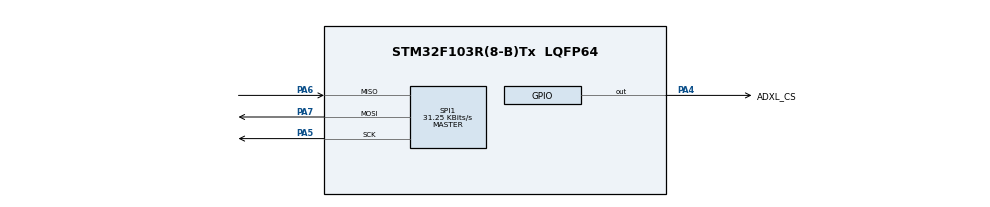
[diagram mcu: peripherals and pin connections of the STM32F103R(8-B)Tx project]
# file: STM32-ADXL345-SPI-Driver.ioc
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Mcu.Family=STM32F1
Mcu.Name=STM32F103R(8-B)Tx
Mcu.Package=LQFP64
NVIC.PriorityGroup=NVIC_PRIORITYGROUP_4
PA13.Mode=Serial_Wire
PA13.Signal=SYS_JTMS-SWDIO
PA14.Mode=Serial_Wire
PA14.Signal=SYS_JTCK-SWCLK
PA4.GPIO_Label=ADXL_CS
PA4.Signal=GPIO_Output
PA5.Mode=Full_Duplex_Master
PA5.Signal=SPI1_SCK
PA6.Mode=Full_Duplex_Master
PA6.Signal=SPI1_MISO
PA7.Mode=Full_Duplex_Master
PA7.Signal=SPI1_MOSI
PD0-OSC_IN.Mode=HSE-External-Oscillator
PD0-OSC_IN.Signal=RCC_OSC_IN
PD1-OSC_OUT.Mode=HSE-External-Oscillator
PD1-OSC_OUT.Signal=RCC_OSC_OUT
ProjectManager.HeapSize=0x200
ProjectManager.StackSize=0x400
ProjectManager.TargetToolchain=STM32CubeIDE
RCC.APB1Freq_Value=8000000
RCC.APB2Freq_Value=8000000
SPI1.BaudRatePrescaler=SPI_BAUDRATEPRESCALER_256
SPI1.CLKPhase=SPI_PHASE_2EDGE
SPI1.CLKPolarity=SPI_POLARITY_HIGH
SPI1.CalculateBaudRate=31.25 KBits/s
SPI1.Direction=SPI_DIRECTION_2LINES
SPI1.Mode=SPI_MODE_MASTER
SPI1.VirtualType=VM_MASTER
board=custom

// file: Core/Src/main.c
/* USER CODE BEGIN Header */
/**
  ******************************************************************************
  * @file           : main.c
  * @brief          : Main program body
  ******************************************************************************
  * @attention
  *
  * Copyright (c) 2026 STMicroelectronics.
  * All rights reserved.
  *
  * This software is licensed under terms that can be found in the LICENSE file
  * in the root directory of this software component.
  * If no LICENSE file comes with this software, it is provided AS-IS.
  *
  ******************************************************************************
  */
/* USER CODE END Header */
#include "main.h"

SPI_HandleTypeDef hspi1;

/* USER CODE BEGIN PV */

volatile int16_t x_val, y_val, z_val;
uint8_t dev_id = 0;

/* USER CODE END PV */

void SystemClock_Config(void);
static void MX_GPIO_Init(void);
static void MX_SPI1_Init(void);

int main(void)
{

  /* MCU Configuration--------------------------------------------------------*/

  /* Reset of all peripherals, Initializes the Flash interface and the Systick. */
  HAL_Init();

  /* Configure the system clock */
  SystemClock_Config();

  /* Initialize all configured peripherals */
  MX_GPIO_Init();
  MX_SPI1_Init();
  /* USER CODE BEGIN 2 */

  HAL_GPIO_WritePin(ADXL_CS_GPIO_Port, ADXL_CS_Pin, GPIO_PIN_SET);
      HAL_Delay(100);

      uint8_t txBuf[2] = {0x00 | 0x80, 0x00}; // 0x00 Adresi
      uint8_t rxBuf[2] = {0, 0};

      HAL_GPIO_WritePin(ADXL_CS_GPIO_Port, ADXL_CS_Pin, GPIO_PIN_RESET); // CS Aktif
      HAL_SPI_TransmitReceive(&hspi1, txBuf, rxBuf, 2, 100);             // Gönder-Al
      HAL_GPIO_WritePin(ADXL_CS_GPIO_Port, ADXL_CS_Pin, GPIO_PIN_SET);   // CS Pasif

      dev_id = rxBuf[1];

      uint8_t wake_cmd[2] = {0x2D, 0x08}; // Power Control -> Measure Mode

      HAL_GPIO_WritePin(ADXL_CS_GPIO_Port, ADXL_CS_Pin, GPIO_PIN_RESET);
      HAL_SPI_Transmit(&hspi1, wake_cmd, 2, 100);
      HAL_GPIO_WritePin(ADXL_CS_GPIO_Port, ADXL_CS_Pin, GPIO_PIN_SET);

  /* USER CODE END 2 */

  /* Infinite loop */
  while (1)
  {

    /* USER CODE BEGIN 3 */

	  uint8_t read_cmd = 0xF2; // 0x32 (DATAX0) | Multi-Byte (okuma)
	  	      uint8_t data_raw[6];

	  	      HAL_GPIO_WritePin(ADXL_CS_GPIO_Port, ADXL_CS_Pin, GPIO_PIN_RESET);
	  	      HAL_SPI_Transmit(&hspi1, &read_cmd, 1, 100);
	  	      HAL_SPI_Receive(&hspi1, data_raw, 6, 100);
	  	      HAL_GPIO_WritePin(ADXL_CS_GPIO_Port, ADXL_CS_Pin, GPIO_PIN_SET);

	  	      x_val = ((int16_t)data_raw[1] << 8) | data_raw[0];
	  	      y_val = ((int16_t)data_raw[3] << 8) | data_raw[2];
	  	      z_val = ((int16_t)data_raw[5] << 8) | data_raw[4];

	  	      HAL_Delay(50);
  }
  /* USER CODE END 3 */
}

void SystemClock_Config(void)
{
  RCC_OscInitTypeDef RCC_OscInitStruct = {0};
  RCC_ClkInitTypeDef RCC_ClkInitStruct = {0};

  /** Initializes the RCC Oscillators according to the specified parameters
  * in the RCC_OscInitTypeDef structure.
  */
  RCC_OscInitStruct.OscillatorType = RCC_OSCILLATORTYPE_HSI;
  RCC_OscInitStruct.HSIState = RCC_HSI_ON;
  RCC_OscInitStruct.HSICalibrationValue = RCC_HSICALIBRATION_DEFAULT;
  RCC_OscInitStruct.PLL.PLLState = RCC_PLL_NONE;
  if (HAL_RCC_OscConfig(&RCC_OscInitStruct) != HAL_OK)
  {
    Error_Handler();
  }

  /** Initializes the CPU, AHB and APB buses clocks
  */
  RCC_ClkInitStruct.ClockType = RCC_CLOCKTYPE_HCLK|RCC_CLOCKTYPE_SYSCLK
                              |RCC_CLOCKTYPE_PCLK1|RCC_CLOCKTYPE_PCLK2;
  RCC_ClkInitStruct.SYSCLKSource = RCC_SYSCLKSOURCE_HSI;
  RCC_ClkInitStruct.AHBCLKDivider = RCC_SYSCLK_DIV1;
  RCC_ClkInitStruct.APB1CLKDivider = RCC_HCLK_DIV1;
  RCC_ClkInitStruct.APB2CLKDivider = RCC_HCLK_DIV1;

  if (HAL_RCC_ClockConfig(&RCC_ClkInitStruct, FLASH_LATENCY_0) != HAL_OK)
  {
    Error_Handler();
  }
}

static void MX_SPI1_Init(void)
{

  /* SPI1 parameter configuration*/
  hspi1.Instance = SPI1;
  hspi1.Init.Mode = SPI_MODE_MASTER;
  hspi1.Init.Direction = SPI_DIRECTION_2LINES;
  hspi1.Init.DataSize = SPI_DATASIZE_8BIT;
  hspi1.Init.CLKPolarity = SPI_POLARITY_HIGH;
  hspi1.Init.CLKPhase = SPI_PHASE_2EDGE;
  hspi1.Init.NSS = SPI_NSS_SOFT;
  hspi1.Init.BaudRatePrescaler = SPI_BAUDRATEPRESCALER_256;
  hspi1.Init.FirstBit = SPI_FIRSTBIT_MSB;
  hspi1.Init.TIMode = SPI_TIMODE_DISABLE;
  hspi1.Init.CRCCalculation = SPI_CRCCALCULATION_DISABLE;
  hspi1.Init.CRCPolynomial = 10;
  if (HAL_SPI_Init(&hspi1) != HAL_OK)
  {
    Error_Handler();
  }

}

static void MX_GPIO_Init(void)
{
  GPIO_InitTypeDef GPIO_InitStruct = {0};

  /* GPIO Ports Clock Enable */
  __HAL_RCC_GPIOD_CLK_ENABLE();
  __HAL_RCC_GPIOA_CLK_ENABLE();

  /*Configure GPIO pin Output Level */
  HAL_GPIO_WritePin(ADXL_CS_GPIO_Port, ADXL_CS_Pin, GPIO_PIN_RESET);

  /*Configure GPIO pin : ADXL_CS_Pin */
  GPIO_InitStruct.Pin = ADXL_CS_Pin;
  GPIO_InitStruct.Mode = GPIO_MODE_OUTPUT_PP;
  GPIO_InitStruct.Pull = GPIO_NOPULL;
  GPIO_InitStruct.Speed = GPIO_SPEED_FREQ_LOW;
  HAL_GPIO_Init(ADXL_CS_GPIO_Port, &GPIO_InitStruct);

}

void Error_Handler(void)
{
  __disable_irq();
  while (1)
  {
  }
}
